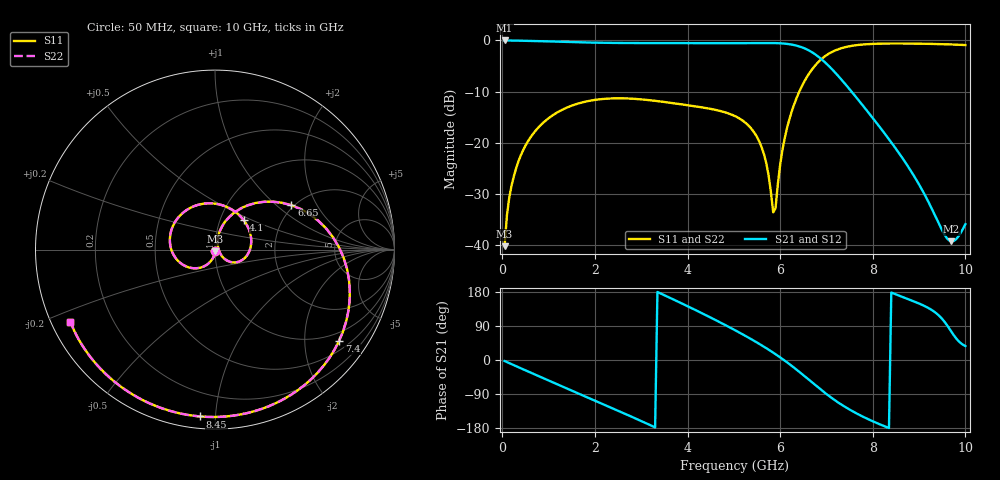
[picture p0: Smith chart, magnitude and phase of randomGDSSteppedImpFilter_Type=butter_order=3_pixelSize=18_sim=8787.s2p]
! freq	dB(S11)	phase(S11)	dB(S12)	phase(S12)
!  dB(S21)	phase(S21)	dB(S22)	phase(S22)
!S-par simulation data
#  GHz  S  DB  R 50
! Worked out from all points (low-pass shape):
!   200 points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, 50 MHz to 10 GHz, reference 50 ohm
!   highest |S21| = -0.01 dB at 50 MHz (marker M1); lowest = -39.3 dB at 9.7 GHz (marker M2)
!   |S21| within 3 dB of the highest: start of sweep to 6.801 GHz
!   lowest |S11| = -40.2 dB at 50 MHz (marker M3), VSWR 1.02, Z = 50 - j0.974 ohm
!   |S11| at or under -10 dB: start of sweep to 6.415 GHz
!   |S22| runs from -40.2 to -0.6 dB; largest |S21 - S12| = 0
!   S11 on the Smith chart (normalised r, x): 50 MHz: 1.00, -0.02; 4.1 GHz: 1.29, +0.45; 6.65 GHz: 1.94, +1.27; 7.4 GHz: 0.74, -2.87; 8.45 GHz: 0.06, -0.91; 10 GHz: 0.06, -0.24
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0.05  -40.22 -92.2  -0.01 -2.8  -0.01 -2.8  -40.22 -92.2
0.2  -28.35 -99.8  -0.03 -11.0  -0.03 -11.0  -28.35 -99.8
0.5  -20.57 -117.7  -0.08 -27.2  -0.08 -27.2  -20.57 -117.7
1.15  -14.27 -152.8  -0.24 -62.2  -0.24 -62.2  -14.27 -152.8
1.75  -12.06 175.3  -0.39 -93.9  -0.39 -93.9  -12.06 175.3
2.65  -11.33 127.3  -0.51 -141.9  -0.51 -141.9  -11.33 127.3
3.4  -11.92 86.0  -0.53 176.6  -0.53 176.6  -11.92 86.1
4.1  -12.79 45.9  -0.53 136.1  -0.53 136.1  -12.79 46.0
4.6  -13.57 16.2  -0.54 105.7  -0.54 105.7  -13.56 16.3
5.05  -14.91 -11.2  -0.53 77.0  -0.53 77.0  -14.91 -11.0
5.6  -20.87 -42.7  -0.49 38.8  -0.49 38.8  -20.86 -42.2
5.85  -33.61 -6.3  -0.51 19.5  -0.51 19.5  -33.25 -5.2
6.15  -17.07 72.9  -0.68 -6.2  -0.68 -6.2  -17.05 72.4
6.65  -6.15 30.2  -2.11 -55.2  -2.11 -55.2  -6.15 30.0
6.7  -5.53 25.3  -2.38 -60.3  -2.38 -60.3  -5.53 25.1
7.05  -2.60 -7.9  -4.98 -94.5  -4.98 -94.5  -2.60 -8.0
7.4  -1.33 -36.3  -8.47 -123.6  -8.47 -123.6  -1.33 -36.4
7.85  -0.75 -65.3  -13.46 -153.3  -13.46 -153.3  -0.75 -65.4
8.35  -0.60 -90.6  -19.32 -179.6  -19.32 -179.6  -0.60 -90.7
8.45  -0.60 -95.1  -20.55 175.6  -20.55 175.6  -0.60 -95.1
9.7  -0.79 -142.9  -39.29 74.1  -39.29 74.1  -0.79 -142.9
10  -0.91 -153.4  -35.91 36.7  -35.91 36.7  -0.91 -153.4
